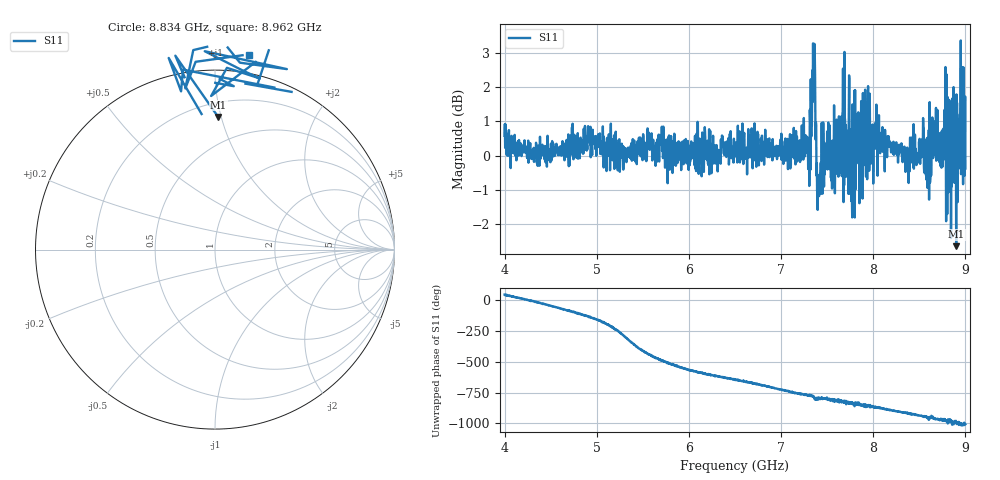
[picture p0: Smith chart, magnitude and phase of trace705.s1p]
! Created with skrf 1.8.0 (http://scikit-rf.org).
# Hz S RI R 50.0
!freq ReS11 ImS11
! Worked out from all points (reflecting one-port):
!   1601 points, 4 GHz to 9 GHz, reference 50 ohm
!   lowest |S11| = -2.6 dB at 8.9 GHz (marker M1), VSWR 6.65, Z = 15.1 + j48.9 ohm
!   phase of S11 starts at 42 deg and turns -1048 deg over the sweep
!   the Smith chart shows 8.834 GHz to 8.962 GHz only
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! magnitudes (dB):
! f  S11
! 4 GHz  0.6
! 4.247 GHz  0.1
! 4.625 GHz  0.0
! 4.906 GHz  0.9
! 5.25 GHz  -0.5
! 5.572 GHz  0.5
! 5.875 GHz  -0.2
! 6.5 GHz  0.3
! 7.125 GHz  0.3
! 7.294 GHz  -0.4
! 7.347 GHz  3.3
! 7.362 GHz  3.3
! 7.397 GHz  -1.6
! 7.409 GHz  -0.9
! 7.506 GHz  0.3
! 7.606 GHz  -0.3
! 7.666 GHz  1.2
! 7.75 GHz  -0.2
! 7.769 GHz  -1.3
! 7.822 GHz  0.3
! 7.928 GHz  0.3
! 8.375 GHz  -0.1
! 8.522 GHz  0.0
! 8.597 GHz  -0.6
! 8.656 GHz  0.3
! 8.9 GHz  -2.6
! 8.959 GHz  2.6
! 9 GHz  -0.4
